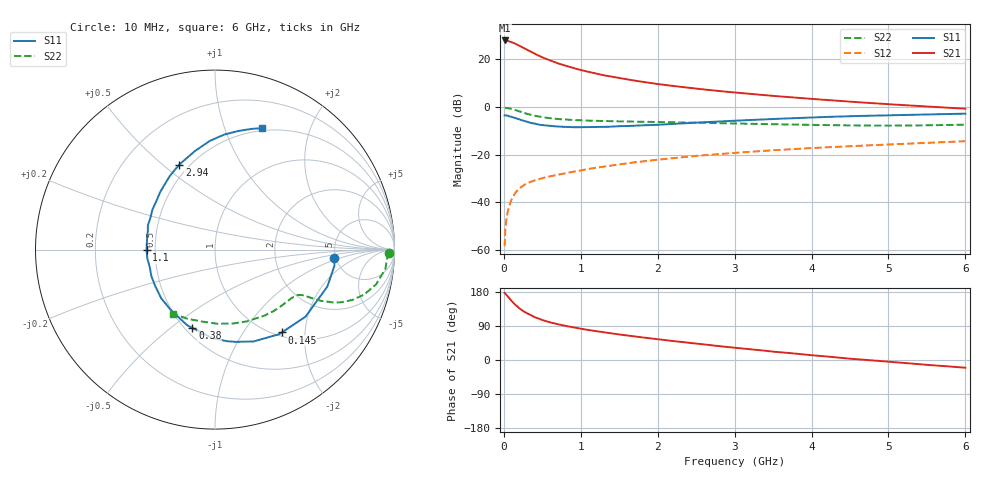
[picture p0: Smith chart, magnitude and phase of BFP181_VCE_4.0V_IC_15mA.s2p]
! Infineon Technologies  Discrete & RF Semiconductors
! BFP181
! VCE = 4.0 V,  IC =  15 mA
! Common Emitter S-Parameters:  Jan 2016
# GHz  S  MA  R  50
!  f  S11  S21  S12  S22
! GHz  MAG  ANG  MAG  ANG  MAG  ANG  MAG  ANG
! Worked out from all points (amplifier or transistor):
!   210 points, 10 MHz to 6 GHz, reference 50 ohm
!   highest |S21| = 28.0 dB at 10 MHz (marker M1)
!   |S21| within 3 dB of that: start of sweep to 245 MHz
!   unconditionally stable (mu >= 1): 866.3 MHz to end of sweep
!   at 185 MHz: K = 0.35, MSG = 30.4 dB, |S12| = -34.7 dB
!   at 1.52 GHz: K = 1.17, MAG = 15.5 dB, |S12| = -24.0 dB
!   at 6 GHz: K = 1.01, MAG = 6.4 dB, |S12| = -14.3 dB
!   S11 on the Smith chart (normalised r, x): 10 MHz: 4.87, -0.77; 145 MHz: 1.07, -1.52; 380 MHz: 0.54, -0.60; 1.1 GHz: 0.45, -0.00; 2.94 GHz: 0.44, +0.57; 6 GHz: 0.47, +1.35
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0.01  0.6664 -3.8  25.01 177.1  0.0012 86.2  0.9686 -1.0
0.02  0.6713 -7.8  24.88 175.1  0.0027 83.7  0.961 -2.4
0.05  0.6587 -18.3  24.57 167.5  0.0063 84.4  0.9557 -6.4
0.1  0.6277 -36.6  23.05 155.9  0.0114 70.9  0.918 -12.2
0.145  0.5926 -51.2  21.49 146.5  0.0154 68.1  0.8715 -16.4
0.2  0.5547 -67.4  19.49 136.5  0.0195 63.1  0.8135 -20.2
0.24  0.526 -77.7  17.89 130.6  0.0217 59.1  0.7735 -22.1
0.3  0.4932 -91.7  15.9 123.2  0.0252 56.9  0.7212 -24.1
0.38  0.4544 -106.1  13.66 115.4  0.0281 53.9  0.6693 -25.4
0.4  0.4496 -110.0  13.15 113.0  0.0288 53.3  0.6564 -25.8
0.5  0.4178 -125.6  11.02 105.4  0.0322 52.4  0.6122 -26.5
0.6  0.4043 -137.7  9.528 99.4  0.0351 52.2  0.5822 -26.9
0.8  0.384 -157.4  7.383 90.0  0.0407 52.3  0.5467 -27.6
1.02  0.38 -173.9  5.877 81.9  0.0473 53.1  0.5239 -29.0
1.1  0.3816 -179.4  5.486 79.1  0.0503 53.0  0.5181 -29.6
1.5  0.3974 160.3  4.059 67.4  0.0626 53.1  0.5009 -33.5
2.02  0.4262 139.4  3.012 54.4  0.079 51.0  0.4848 -40.5
2.94  0.512 112.9  2.063 33.7  0.1074 45.3  0.4542 -55.4
3.1  0.5256 109.2  1.955 30.6  0.1121 44.2  0.448 -58.3
4.1  0.6135 91.1  1.444 11.0  0.1403 36.5  0.4202 -78.9
5.1  0.6779 77.9  1.122 -6.1  0.1667 29.1  0.4073 -102.1
6  0.7262 68.7  0.924 -20.4  0.1919 21.8  0.4272 -123.4
